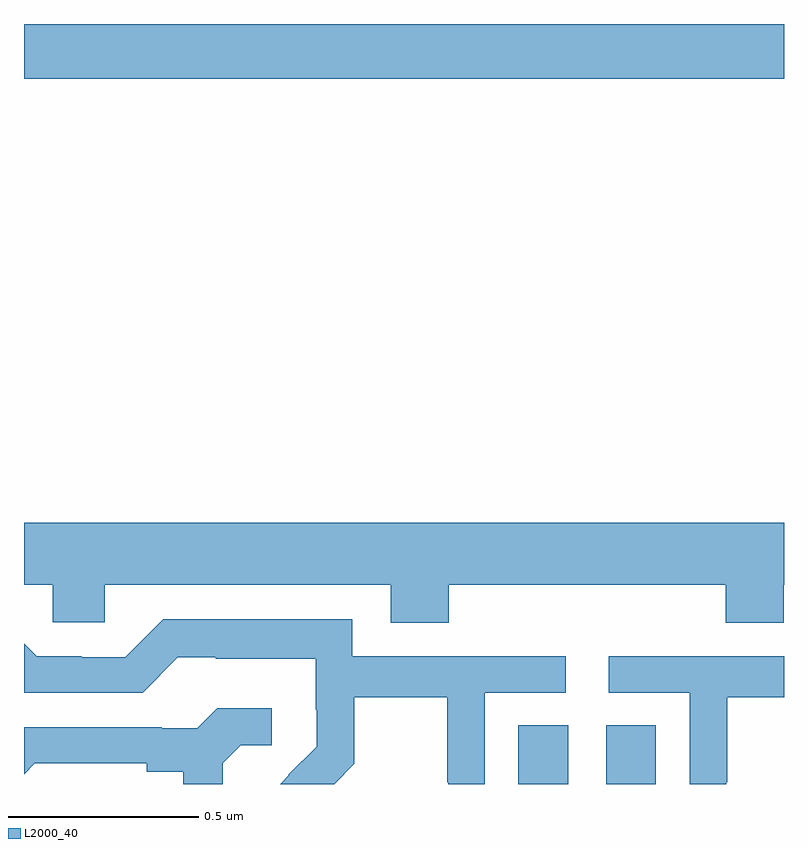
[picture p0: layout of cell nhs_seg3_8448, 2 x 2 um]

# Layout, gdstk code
import gdstk
lib = gdstk.Library(unit=1e-6, precision=1e-09)
def R(c, l, rs):  # rectangles x0, y0, x1, y1
    for r in rs: c.add(gdstk.rectangle(r[:2], r[2:], *l))
def P(c, l, *ps):  # polygons
    for p in ps: c.add(gdstk.Polygon(p, *l))
L2000_40 = (2000, 40)

nhs_seg3_8448 = lib.new_cell('nhs_seg3_8448')
R(nhs_seg3_8448, L2000_40, [(217.301,692.4,217.432,692.555), (217.532,692.4,217.663,692.555), (216,694.256,218,694.4)])
P(nhs_seg3_8448, L2000_40, [(217.118,692.924),(217.847,692.924),(217.847,692.825),(217.999,692.825),(217.999,692.924),(218,692.924),(218,693.088),(216,693.088),(216,692.924),(216.075,692.924),(216.075,692.826),(216.213,692.826),(216.213,692.924),(216.965,692.924),(216.965,692.825),(217.118,692.825)],
  [(216.869,692.453),(216.869,692.628),(217.114,692.628),(217.114,692.404),(217.116,692.404),(217.116,692.4),(217.212,692.4),(217.212,692.64),(217.426,692.64),(217.426,692.736),(216.864,692.736),(216.864,692.833),(216.367,692.833),(216.267,692.733),(216.152,692.733),(216.152,692.736),(216.033,692.736),(216,692.769),(216,692.64),(216.312,692.64),(216.405,692.733),(216.505,692.733),(216.505,692.729),(216.768,692.729),(216.768,692.595),(216.77,692.595),(216.77,692.498),(216.696,692.424),(216.697,692.423),(216.674,692.4),(216.816,692.4)],
  [(217.848,692.404),(217.851,692.404),(217.851,692.628),(218,692.628),(218,692.736),(217.539,692.736),(217.539,692.64),(217.752,692.64),(217.752,692.4),(217.848,692.4)],
  [(216.523,692.455),(216.57,692.502),(216.652,692.502),(216.652,692.599),(216.508,692.599),(216.456,692.547),(216.362,692.547),(216.362,692.55),(216,692.55),(216,692.426),(216.028,692.454),(216.323,692.454),(216.323,692.432),(216.419,692.432),(216.419,692.4),(216.523,692.4)])

lib.write_gds('nhs_seg3_8448.gds')
